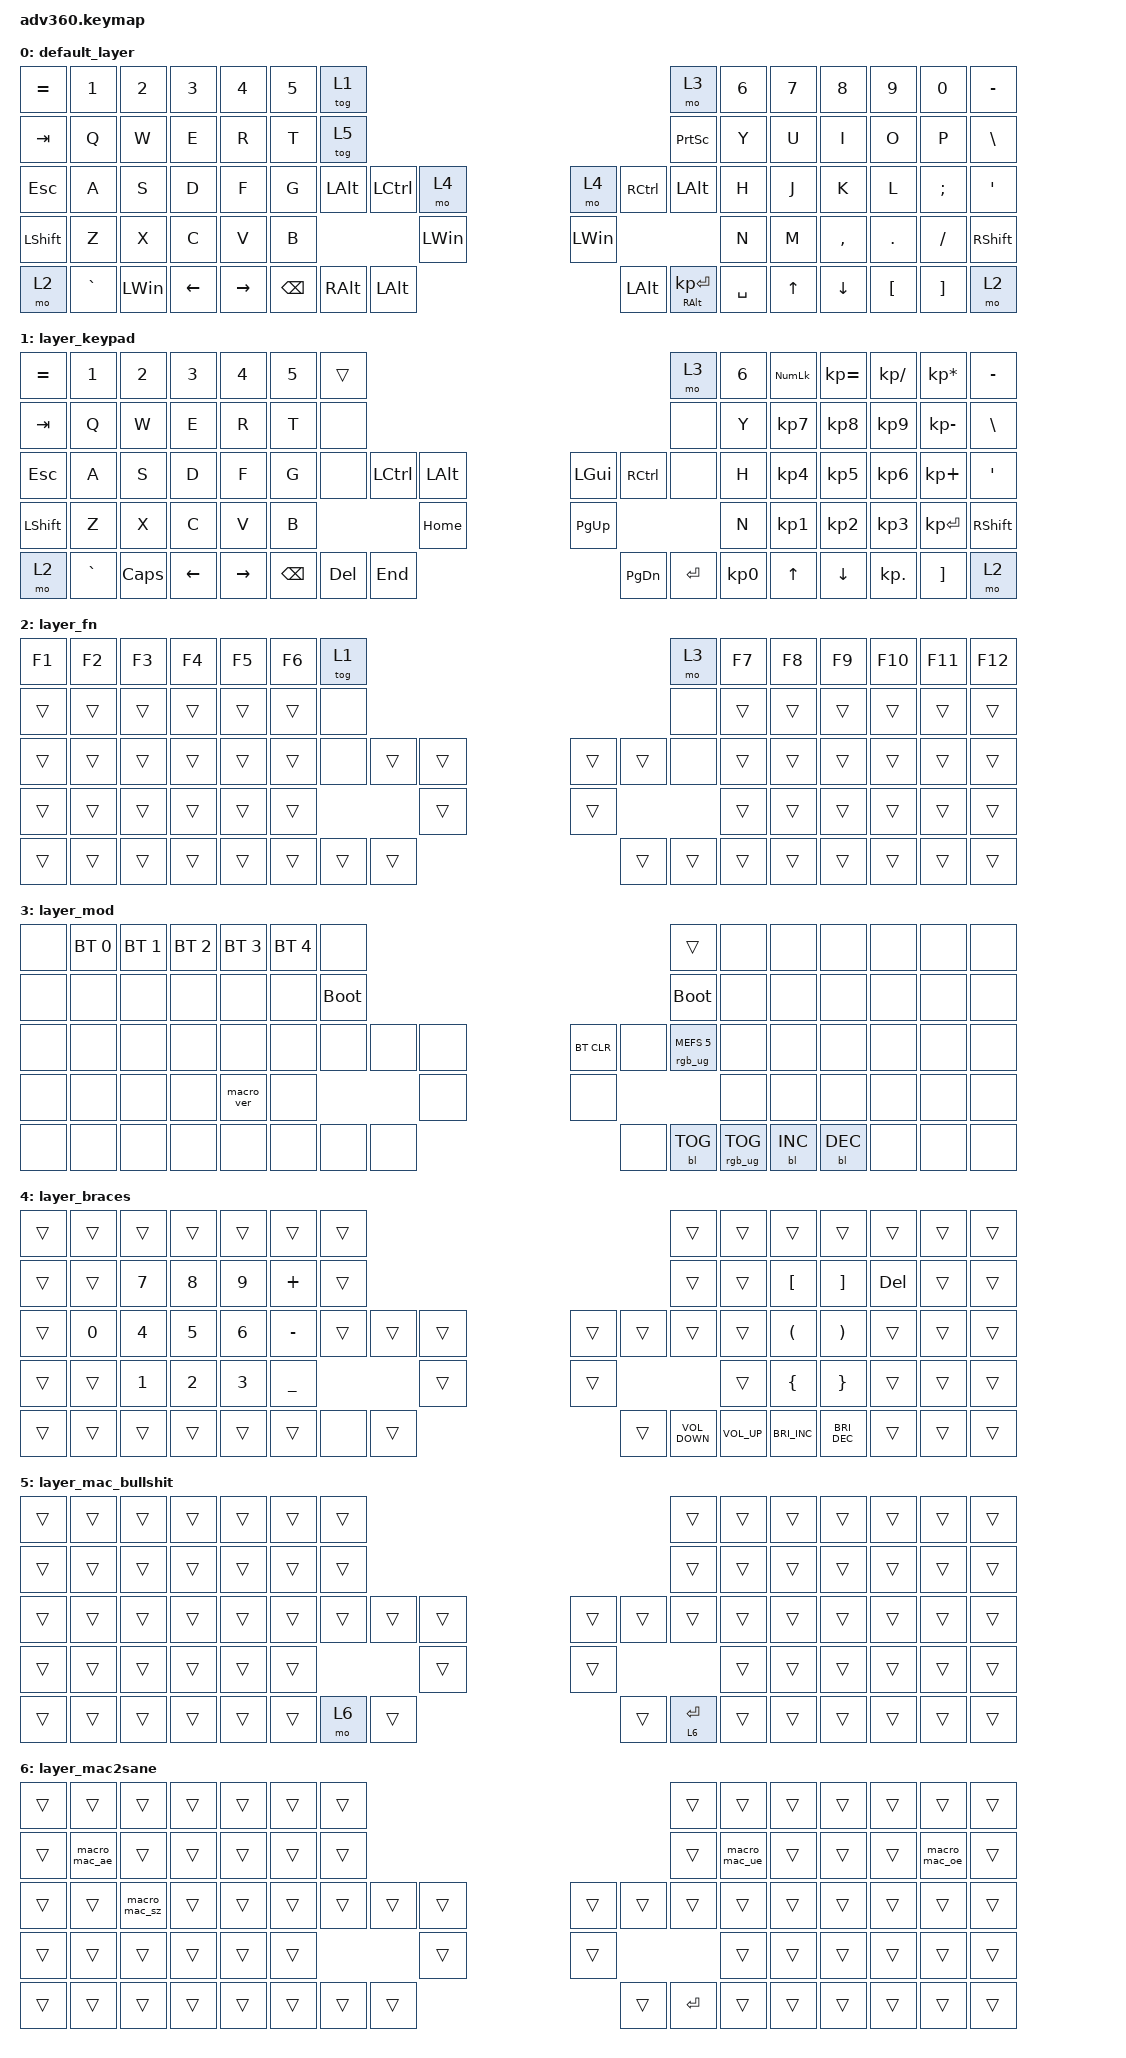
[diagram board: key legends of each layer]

/*
 * Copyright (c) 2020 The ZMK Contributors
 *
 * SPDX-License-Identifier: MIT
 */


/* THIS FILE WAS GENERATED!
 *
 * This file was generated automatically. You may or may not want to
 * edit it directly.
 */

#include <behaviors.dtsi>
#include <dt-bindings/zmk/keys.h>
#include <dt-bindings/zmk/bt.h>
#include <dt-bindings/zmk/rgb.h>
#include <dt-bindings/zmk/backlight.h>

/ {
  behaviors {
    #include "macros.dtsi"
    #include "version.dtsi"

    hm: homerow_mods {
        compatible = "zmk,behavior-hold-tap";
        label = "HOMEROW_MODS";
        #binding-cells = <2>;
        tapping-term-ms = <200>;
        quick_tap_ms = <175>;
        flavor = "tap-preferred";
        bindings = <&kp>, <&kp>;
    };
  };

    keymap {
        compatible = "zmk,keymap";


        default_layer {
            bindings = <
 &kp EQUAL     &kp N1        &kp N2    &kp N3     &kp N4  &kp N5                  &tog 1                                                                                               &mo 3  &kp N6  &kp N7     &kp N8    &kp N9    &kp N0  &kp MINUS
   &kp TAB      &kp Q         &kp W     &kp E      &kp R   &kp T                  &tog 5                                                                                     &kp PRINTSCREEN   &kp Y   &kp U      &kp I     &kp O     &kp P   &kp BSLH
   &kp ESC      &kp A         &kp S     &kp D      &kp F   &kp G            &kp LEFT_ALT      &kp LCTRL         &mo 4                         &mo 4               &kp RCTRL     &kp LEFT_ALT   &kp H   &kp J      &kp K     &kp L  &kp SEMI    &kp SQT
 &kp LSHFT      &kp Z         &kp X     &kp C      &kp V   &kp B                                         &kp LEFT_WIN                  &kp LEFT_WIN                                            &kp N   &kp M  &kp COMMA   &kp DOT  &kp FSLH  &kp RSHFT
     &mo 2  &kp GRAVE  &kp LEFT_WIN  &kp LEFT  &kp RIGHT                        &kp BSPC  &kp RIGHT_ALT  &kp LEFT_ALT                  &kp LEFT_ALT  &mt RIGHT_ALT KP_ENTER        &kp SPACE          &kp UP   &kp DOWN  &kp LBKT  &kp RBKT      &mo 2
            >;
        };

        layer_keypad {
            bindings = <
 &kp EQUAL     &kp N1    &kp N2    &kp N3     &kp N4  &kp N5              &trans                                                                 &mo 3  &kp N6  &kp KP_NUM  &kp KP_EQUAL  &kp KP_DIVIDE  &kp KP_MULTIPLY  &kp MINUS
   &kp TAB      &kp Q     &kp W     &kp E      &kp R   &kp T               &none                                                                 &none   &kp Y   &kp KP_N7     &kp KP_N8      &kp KP_N9     &kp KP_MINUS   &kp BSLH
   &kp ESC      &kp A     &kp S     &kp D      &kp F   &kp G               &none  &kp LCTRL  &kp LALT                   &kp LGUI  &kp RCTRL      &none   &kp H   &kp KP_N4     &kp KP_N5      &kp KP_N6      &kp KP_PLUS    &kp SQT
 &kp LSHFT      &kp Z     &kp X     &kp C      &kp V   &kp B                                 &kp HOME                  &kp PG_UP                         &kp N   &kp KP_N1     &kp KP_N2      &kp KP_N3     &kp KP_ENTER  &kp RSHFT
     &mo 2  &kp GRAVE  &kp CAPS  &kp LEFT  &kp RIGHT                    &kp BSPC    &kp DEL   &kp END                  &kp PG_DN  &kp ENTER  &kp KP_N0              &kp UP      &kp DOWN     &kp KP_DOT         &kp RBKT      &mo 2
            >;
        };

        layer_fn {
            bindings = <
 &kp F1  &kp F2  &kp F3  &kp F4  &kp F5  &kp F6            &tog 1                                                   &mo 3  &kp F7  &kp F8  &kp F9  &kp F10  &kp F11  &kp F12
 &trans  &trans  &trans  &trans  &trans  &trans             &none                                                   &none  &trans  &trans  &trans   &trans   &trans   &trans
 &trans  &trans  &trans  &trans  &trans  &trans             &none  &trans  &trans                  &trans  &trans   &none  &trans  &trans  &trans   &trans   &trans   &trans
 &trans  &trans  &trans  &trans  &trans  &trans                            &trans                  &trans                  &trans  &trans  &trans   &trans   &trans   &trans
 &trans  &trans  &trans  &trans  &trans                    &trans  &trans  &trans                  &trans  &trans  &trans          &trans  &trans   &trans   &trans   &trans
            >;
        };

        layer_mod {
            bindings = <
  &none  &bt BT_SEL 0  &bt BT_SEL 1  &bt BT_SEL 2  &bt BT_SEL 3  &bt BT_SEL 4                  &none                                                                          &trans   &none       &none       &none   &none   &none   &none
  &none         &none         &none         &none         &none         &none            &bootloader                                                                     &bootloader   &none       &none       &none   &none   &none   &none
  &none         &none         &none         &none         &none         &none                  &none   &none   &none                  &bt BT_CLR       &none  &rgb_ug RGB_MEFS_CMD 5   &none       &none       &none   &none   &none   &none
  &none         &none         &none         &none    &macro_ver         &none                                  &none                       &none                                       &none       &none       &none   &none   &none   &none
  &none         &none         &none         &none         &none                                &none   &none   &none                       &none  &bl BL_TOG         &rgb_ug RGB_TOG          &bl BL_INC  &bl BL_DEC   &none   &none   &none
            >;
        };

        layer_braces {
            bindings = <
 &trans  &trans  &trans  &trans        &trans          &trans            &trans                                                                   &trans  &trans                &trans                 &trans   &trans  &trans  &trans
 &trans  &trans  &kp N7  &kp N8  &kp NUMBER_9        &kp PLUS            &trans                                                                   &trans  &trans      &kp LEFT_BRACKET      &kp RIGHT_BRACKET  &kp DEL  &trans  &trans
 &trans  &kp N0  &kp N4  &kp N5        &kp N6       &kp MINUS            &trans  &trans  &trans                  &trans             &trans        &trans  &trans  &kp LEFT_PARENTHESIS  &kp RIGHT_PARENTHESIS   &trans  &trans  &trans
 &trans  &trans  &kp N1  &kp N2        &kp N3  &kp UNDERSCORE                            &trans                  &trans                                   &trans        &kp LEFT_BRACE        &kp RIGHT_BRACE   &trans  &trans  &trans
 &trans  &trans  &trans  &trans        &trans                            &trans   &none  &trans                  &trans  &kp C_VOLUME_DOWN  &kp C_VOL_UP          &kp C_BRIGHTNESS_INC   &kp C_BRIGHTNESS_DEC   &trans  &trans  &trans
            >;
        };

        layer_mac_bullshit {
            bindings = <
 &trans  &trans  &trans  &trans  &trans  &trans            &trans                                                       &trans  &trans  &trans  &trans  &trans  &trans  &trans
 &trans  &trans  &trans  &trans  &trans  &trans            &trans                                                       &trans  &trans  &trans  &trans  &trans  &trans  &trans
 &trans  &trans  &trans  &trans  &trans  &trans            &trans  &trans  &trans                  &trans       &trans  &trans  &trans  &trans  &trans  &trans  &trans  &trans
 &trans  &trans  &trans  &trans  &trans  &trans                            &trans                  &trans                       &trans  &trans  &trans  &trans  &trans  &trans
 &trans  &trans  &trans  &trans  &trans                    &trans   &mo 6  &trans                  &trans  &lt 6 ENTER  &trans          &trans  &trans  &trans  &trans  &trans
            >;
        };

        layer_mac2sane {
            bindings = <
 &trans         &trans         &trans  &trans  &trans  &trans            &trans                                                     &trans         &trans  &trans  &trans  &trans         &trans  &trans
 &trans  &macro_mac_ae         &trans  &trans  &trans  &trans            &trans                                                     &trans  &macro_mac_ue  &trans  &trans  &trans  &macro_mac_oe  &trans
 &trans         &trans  &macro_mac_sz  &trans  &trans  &trans            &trans  &trans  &trans                  &trans     &trans  &trans         &trans  &trans  &trans  &trans         &trans  &trans
 &trans         &trans         &trans  &trans  &trans  &trans                            &trans                  &trans                            &trans  &trans  &trans  &trans         &trans  &trans
 &trans         &trans         &trans  &trans  &trans                    &trans  &trans  &trans                  &trans  &kp ENTER  &trans                 &trans  &trans  &trans         &trans  &trans
            >;
        };

    };
};
